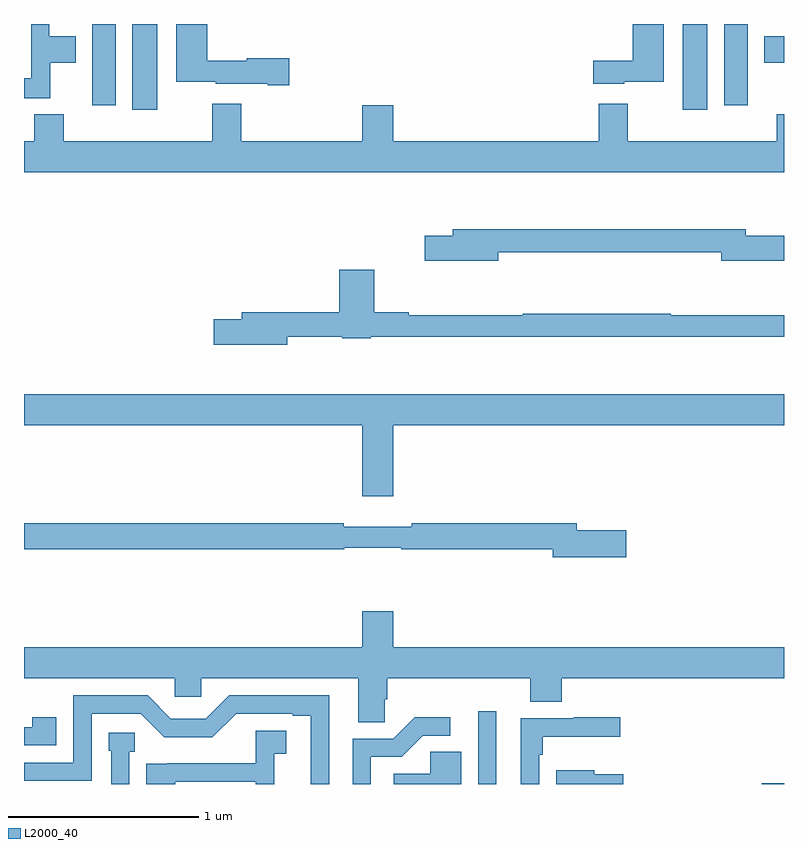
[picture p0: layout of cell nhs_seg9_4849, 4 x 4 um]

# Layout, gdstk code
import gdstk
lib = gdstk.Library(unit=1e-6, precision=1e-09)
def R(c, l, rs):  # rectangles x0, y0, x1, y1
    for r in rs: c.add(gdstk.rectangle(r[:2], r[2:], *l))
def P(c, l, *ps):  # polygons
    for p in ps: c.add(gdstk.Polygon(p, *l))
L2000_40 = (2000, 40)

nhs_seg9_4849 = lib.new_cell('nhs_seg9_4849')
R(nhs_seg9_4849, L2000_40, [(393.39,1226.5,393.486,1226.884), (394.884,1226.5,395,1226.504), (391.571,1230.048,391.702,1230.5), (394.466,1230.048,394.597,1230.5), (391.358,1230.072,391.483,1230.5), (394.685,1230.072,394.81,1230.5), (394.895,1230.296,395,1230.436)])
P(nhs_seg9_4849, L2000_40, [(392.395,1230.32),(392.172,1230.32),(392.172,1230.307),(391.964,1230.307),(391.964,1230.5),(391.802,1230.5),(391.802,1230.197),(392.01,1230.197),(392.01,1230.185),(392.282,1230.185),(392.282,1230.178),(392.395,1230.178)],
  [(394.158,1230.197),(394.366,1230.197),(394.366,1230.5),(394.204,1230.5),(394.204,1230.307),(393.996,1230.307),(393.996,1230.185),(394.158,1230.185)],
  [(391.137,1230.296),(391.273,1230.296),(391.273,1230.436),(391.134,1230.436),(391.134,1230.5),(391.038,1230.5),(391.038,1230.214),(391,1230.214),(391,1230.11),(391.137,1230.11)],
  [(395,1230.025),(394.961,1230.025),(394.961,1229.884),(394.177,1229.884),(394.177,1230.079),(394.025,1230.079),(394.025,1229.884),(392.944,1229.884),(392.944,1230.073),(392.78,1230.073),(392.78,1229.884),(392.144,1229.884),(392.144,1230.079),(391.991,1230.079),(391.991,1229.884),(391.208,1229.884),(391.208,1230.025),(391.055,1230.025),(391.055,1229.884),(391,1229.884),(391,1229.72),(395,1229.72)],
  [(393.496,1229.298),(394.67,1229.298),(394.67,1229.255),(395,1229.255),(395,1229.385),(394.798,1229.385),(394.798,1229.419),(393.257,1229.419),(393.257,1229.385),(393.108,1229.385),(393.108,1229.255),(393.496,1229.255)],
  [(392.386,1228.854),(392.676,1228.854),(392.676,1228.846),(392.826,1228.846),(392.826,1228.854),(395,1228.854),(395,1228.967),(394.405,1228.967),(394.405,1228.975),(393.626,1228.975),(393.626,1228.967),(393.026,1228.967),(393.026,1228.982),(392.843,1228.982),(392.843,1229.206),(392.66,1229.206),(392.66,1228.982),(392.147,1228.982),(392.147,1228.946),(391.998,1228.946),(391.998,1228.811),(392.386,1228.811)],
  [(392.944,1228.388),(395,1228.388),(395,1228.552),(391,1228.552),(391,1228.388),(392.78,1228.388),(392.78,1228.014),(392.944,1228.014)],
  [(394.171,1227.836),(393.91,1227.836),(393.91,1227.872),(393.04,1227.872),(393.04,1227.853),(392.684,1227.853),(392.684,1227.872),(391,1227.872),(391,1227.736),(392.686,1227.736),(392.686,1227.744),(392.986,1227.744),(392.986,1227.736),(393.782,1227.736),(393.782,1227.694),(394.171,1227.694)],
  [(391,1227.056),(391.794,1227.056),(391.794,1226.958),(391.932,1226.958),(391.932,1227.056),(392.759,1227.056),(392.759,1226.824),(392.898,1226.824),(392.898,1226.947),(392.912,1226.947),(392.912,1227.056),(393.665,1227.056),(393.665,1226.932),(393.83,1226.932),(393.83,1227.056),(395,1227.056),(395,1227.22),(392.944,1227.22),(392.944,1227.409),(392.78,1227.409),(392.78,1227.22),(391,1227.22)],
  [(392.607,1226.967),(392.079,1226.967),(391.956,1226.844),(391.773,1226.844),(391.65,1226.967),(391.26,1226.967),(391.26,1226.613),(391,1226.613),(391,1226.517),(391.356,1226.517),(391.356,1226.871),(391.614,1226.871),(391.738,1226.747),(391.992,1226.747),(392.116,1226.871),(392.414,1226.871),(392.414,1226.859),(392.51,1226.859),(392.51,1226.5),(392.607,1226.5)],
  [(392.826,1226.643),(392.988,1226.643),(393.099,1226.754),(393.244,1226.754),(393.244,1226.852),(393.056,1226.852),(392.943,1226.739),(392.73,1226.739),(392.73,1226.5),(392.826,1226.5)],
  [(391.171,1226.851),(391.043,1226.851),(391.043,1226.8),(391,1226.8),(391,1226.703),(391.171,1226.703)],
  [(393.711,1226.654),(393.731,1226.654),(393.731,1226.75),(394.138,1226.75),(394.138,1226.851),(393.893,1226.851),(393.893,1226.847),(393.615,1226.847),(393.615,1226.5),(393.711,1226.5)],
  [(391.797,1226.511),(392.22,1226.511),(392.22,1226.5),(392.317,1226.5),(392.317,1226.658),(392.38,1226.658),(392.38,1226.779),(392.22,1226.779),(392.22,1226.608),(391.753,1226.608),(391.753,1226.607),(391.643,1226.607),(391.643,1226.5),(391.797,1226.5)],
  [(391.554,1226.671),(391.584,1226.671),(391.584,1226.769),(391.445,1226.769),(391.445,1226.676),(391.458,1226.676),(391.458,1226.5),(391.554,1226.5)],
  [(393.301,1226.669),(393.138,1226.669),(393.138,1226.554),(392.946,1226.554),(392.946,1226.5),(393.301,1226.5)],
  [(394.153,1226.551),(394.002,1226.551),(394.002,1226.572),(393.8,1226.572),(393.8,1226.5),(394.153,1226.5)])

lib.write_gds('nhs_seg9_4849.gds')
